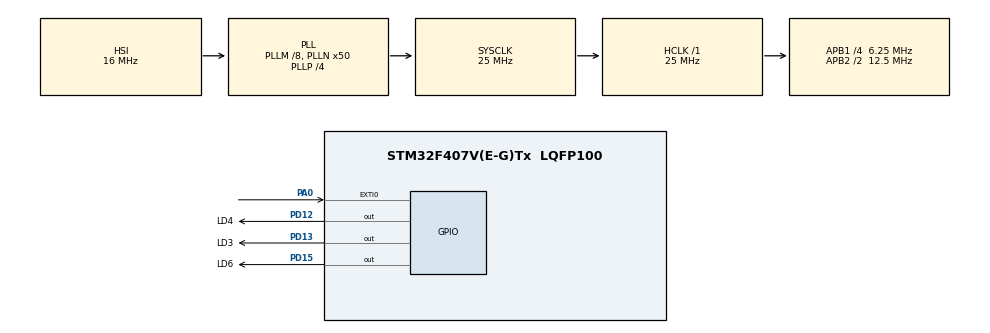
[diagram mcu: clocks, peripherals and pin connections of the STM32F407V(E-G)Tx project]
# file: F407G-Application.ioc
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Mcu.Family=STM32F4
Mcu.Name=STM32F407V(E-G)Tx
Mcu.Package=LQFP100
NVIC.EXTI0_IRQn=true\:0\:0\:false\:false\:true\:true\:true\:true
NVIC.PriorityGroup=NVIC_PRIORITYGROUP_0
PA0-WKUP.Signal=GPXTI0
PA13.Mode=Serial_Wire
PA13.Signal=SYS_JTMS-SWDIO
PA14.Mode=Serial_Wire
PA14.Signal=SYS_JTCK-SWCLK
PD12.GPIO_Label=LD4
PD12.Signal=GPIO_Output
PD13.GPIO_Label=LD3
PD13.Signal=GPIO_Output
PD15.GPIO_Label=LD6
PD15.Signal=GPIO_Output
ProjectManager.HeapSize=0x200
ProjectManager.StackSize=0x400
ProjectManager.TargetToolchain=STM32CubeIDE
RCC.48MHZClocksFreq_Value=14285714.285714285
RCC.AHBFreq_Value=25000000
RCC.APB1CLKDivider=RCC_HCLK_DIV4
RCC.APB1Freq_Value=6250000
RCC.APB1TimFreq_Value=12500000
RCC.APB2CLKDivider=RCC_HCLK_DIV2
RCC.APB2Freq_Value=12500000
RCC.APB2TimFreq_Value=25000000
RCC.CortexFreq_Value=25000000
RCC.HCLKFreq_Value=25000000
RCC.HSE_VALUE=8000000
RCC.HSI_VALUE=16000000
RCC.LSE_VALUE=32768
RCC.PLLM=8
RCC.PLLN=50
RCC.PLLP=RCC_PLLP_DIV4
RCC.PLLQ=7
RCC.SYSCLKFreq_VALUE=25000000
RCC.SYSCLKSource=RCC_SYSCLKSOURCE_PLLCLK
RCC.VCOOutputFreq_Value=100000000
board=STM32F407G-DISC1

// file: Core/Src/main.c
/* USER CODE BEGIN Header */
/**
  ******************************************************************************
  * @file           : main.c
  * @brief          : Main program body
  ******************************************************************************
  * @attention
  *
  * Copyright (c) 2026 STMicroelectronics.
  * All rights reserved.
  *
  * This software is licensed under terms that can be found in the LICENSE file
  * in the root directory of this software component.
  * If no LICENSE file comes with this software, it is provided AS-IS.
  *
  ******************************************************************************
  */
/* USER CODE END Header */
#include "main.h"

/* USER CODE BEGIN Includes */
#include "app_header.h"
#include "flash_layout.h"
#include "app_ota.h"
/* USER CODE END Includes */

/* USER CODE BEGIN PD */
#ifdef NORMAL_APPLICATION
    #define APP_LED_PORT   LD4_GPIO_Port   /* xanh lá    */
    #define APP_LED_PIN    LD4_Pin
#else
    #define APP_LED_PORT   LD6_GPIO_Port   /* xanh dương */
    #define APP_LED_PIN    LD6_Pin
#endif
/* USER CODE END PD */

/* USER CODE BEGIN PV */
volatile uint8_t g_btn_pressed = 0U;
static uint32_t  s_last_press_tick = 0U;
/* Application Header: đặt vào section .app_header (Sector 4, 0x08010000) */
__attribute__((section(".app_header"), used))
const app_header_t app_header =
{
    .ota_flag = 0U,
    .magic    = APP_MAGIC,
    .size     = 0x00001FC4UL,
    .crc      = 0x5D88D4D4UL,
	.version  = 1U
};
/* USER CODE END PV */

void SystemClock_Config(void);
static void MX_GPIO_Init(void);

int main(void)
{

  /* USER CODE BEGIN 1 */
  /*
   * Vector Table của Application nằm tại 0x08020000,
   * không nằm tại địa chỉ mặc định 0x08000000.
   */
  SCB->VTOR = APP_START_ADDR;

  __DSB();
  __ISB();

  /*
   * Bootloader đã gọi __disable_irq() trước khi jump.
   * Vì vậy Application phải bật interrupt lại.
   */
  __enable_irq();
  /* USER CODE END 1 */

  /* MCU Configuration--------------------------------------------------------*/

  /* Reset of all peripherals, Initializes the Flash interface and the Systick. */
  HAL_Init();

  /* Configure the system clock */
  SystemClock_Config();

  /* Initialize all configured peripherals */
  MX_GPIO_Init();

  /* Infinite loop */
  while (1)
  {

    /* USER CODE BEGIN 3 */
	  if (g_btn_pressed != 0U)
	      {
	          g_btn_pressed = 0U;
	          if (app_ota_request() == 0)
	          {
	              NVIC_SystemReset();
	          }
	      }
	      HAL_GPIO_TogglePin(APP_LED_PORT, APP_LED_PIN);
	      HAL_Delay(100);
  }
  /* USER CODE END 3 */
}

void SystemClock_Config(void)
{
  RCC_OscInitTypeDef RCC_OscInitStruct = {0};
  RCC_ClkInitTypeDef RCC_ClkInitStruct = {0};

  /** Configure the main internal regulator output voltage
  */
  __HAL_RCC_PWR_CLK_ENABLE();
  __HAL_PWR_VOLTAGESCALING_CONFIG(PWR_REGULATOR_VOLTAGE_SCALE1);

  /** Initializes the RCC Oscillators according to the specified parameters
  * in the RCC_OscInitTypeDef structure.
  */
  RCC_OscInitStruct.OscillatorType = RCC_OSCILLATORTYPE_HSI;
  RCC_OscInitStruct.HSIState = RCC_HSI_ON;
  RCC_OscInitStruct.HSICalibrationValue = RCC_HSICALIBRATION_DEFAULT;
  RCC_OscInitStruct.PLL.PLLState = RCC_PLL_ON;
  RCC_OscInitStruct.PLL.PLLSource = RCC_PLLSOURCE_HSI;
  RCC_OscInitStruct.PLL.PLLM = 8;
  RCC_OscInitStruct.PLL.PLLN = 50;
  RCC_OscInitStruct.PLL.PLLP = RCC_PLLP_DIV4;
  RCC_OscInitStruct.PLL.PLLQ = 7;
  if (HAL_RCC_OscConfig(&RCC_OscInitStruct) != HAL_OK)
  {
    Error_Handler();
  }

  /** Initializes the CPU, AHB and APB buses clocks
  */
  RCC_ClkInitStruct.ClockType = RCC_CLOCKTYPE_HCLK|RCC_CLOCKTYPE_SYSCLK
                              |RCC_CLOCKTYPE_PCLK1|RCC_CLOCKTYPE_PCLK2;
  RCC_ClkInitStruct.SYSCLKSource = RCC_SYSCLKSOURCE_PLLCLK;
  RCC_ClkInitStruct.AHBCLKDivider = RCC_SYSCLK_DIV1;
  RCC_ClkInitStruct.APB1CLKDivider = RCC_HCLK_DIV4;
  RCC_ClkInitStruct.APB2CLKDivider = RCC_HCLK_DIV2;

  if (HAL_RCC_ClockConfig(&RCC_ClkInitStruct, FLASH_LATENCY_0) != HAL_OK)
  {
    Error_Handler();
  }
}

static void MX_GPIO_Init(void)
{
  GPIO_InitTypeDef GPIO_InitStruct = {0};

  /* GPIO Ports Clock Enable */
  __HAL_RCC_GPIOA_CLK_ENABLE();
  __HAL_RCC_GPIOD_CLK_ENABLE();

  /*Configure GPIO pin Output Level */
  HAL_GPIO_WritePin(GPIOD, LD4_Pin|LD3_Pin|LD6_Pin, GPIO_PIN_RESET);

  /*Configure GPIO pin : PA0 */
  GPIO_InitStruct.Pin = GPIO_PIN_0;
  GPIO_InitStruct.Mode = GPIO_MODE_IT_RISING;
  GPIO_InitStruct.Pull = GPIO_NOPULL;
  HAL_GPIO_Init(GPIOA, &GPIO_InitStruct);

  /*Configure GPIO pins : LD4_Pin LD3_Pin LD6_Pin */
  GPIO_InitStruct.Pin = LD4_Pin|LD3_Pin|LD6_Pin;
  GPIO_InitStruct.Mode = GPIO_MODE_OUTPUT_PP;
  GPIO_InitStruct.Pull = GPIO_NOPULL;
  GPIO_InitStruct.Speed = GPIO_SPEED_FREQ_LOW;
  HAL_GPIO_Init(GPIOD, &GPIO_InitStruct);

  /* EXTI interrupt init*/
  HAL_NVIC_SetPriority(EXTI0_IRQn, 0, 0);
  HAL_NVIC_EnableIRQ(EXTI0_IRQn);

}

/* USER CODE BEGIN 4 */
void HAL_GPIO_EXTI_Callback(uint16_t GPIO_Pin)
{
    if (GPIO_Pin == GPIO_PIN_0)                       /* nut User B1 = PA0 */
    {
        uint32_t now = HAL_GetTick();
        if ((now - s_last_press_tick) >= 50U)         /* debounce 50 ms */
        {
            s_last_press_tick = now;
            g_btn_pressed = 1U;                       /* ISR chi dat co */
        }
    }
}
/* USER CODE END 4 */

void Error_Handler(void)
{
  __disable_irq();
  while (1)
  {
  }
}
